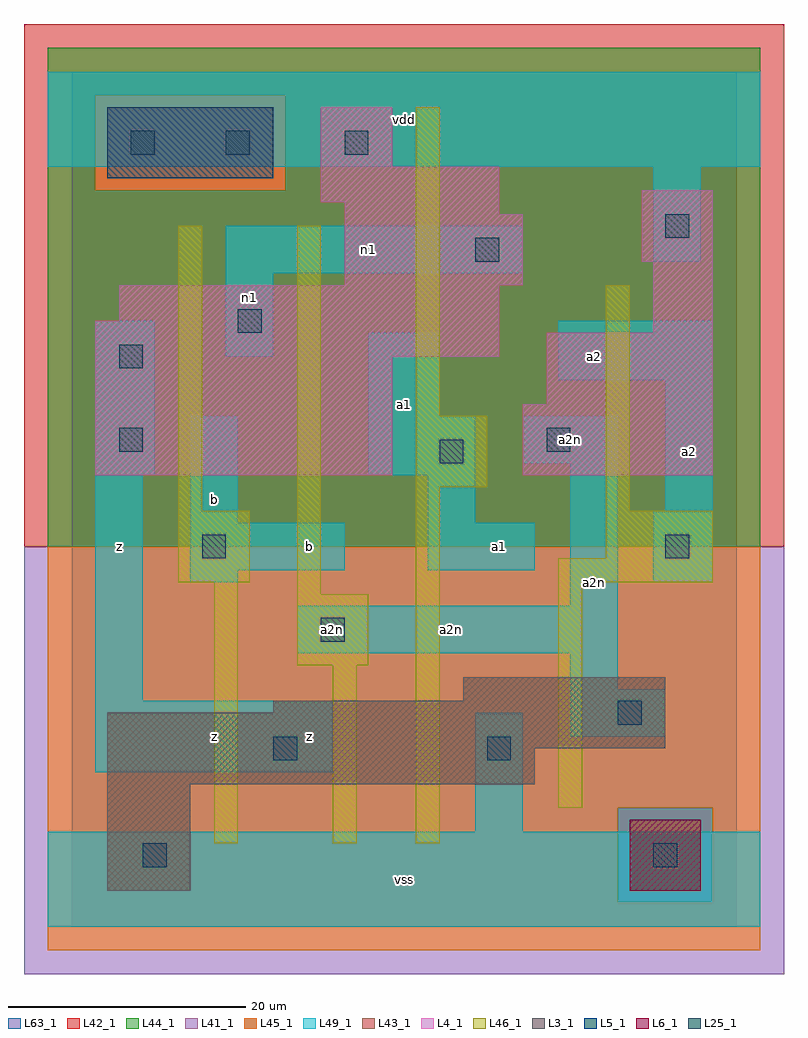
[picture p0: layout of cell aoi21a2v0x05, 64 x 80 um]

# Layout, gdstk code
import gdstk
lib = gdstk.Library(unit=1e-6, precision=1e-09)
def R(c, l, rs):  # rectangles x0, y0, x1, y1
    for r in rs: c.add(gdstk.rectangle(r[:2], r[2:], *l))
L3_1 = (3, 1)
L4_1 = (4, 1)
L5_1 = (5, 1)
L6_1 = (6, 1)
L25_1 = (25, 1)
L41_1 = (41, 1)
L42_1 = (42, 1)
L43_1 = (43, 1)
L44_1 = (44, 1)
L45_1 = (45, 1)
L46_1 = (46, 1)
L49_1 = (49, 1)
L63_1 = (63, 1)

aoi21a2v0x05 = lib.new_cell('aoi21a2v0x05')
R(aoi21a2v0x05, L3_1, [(3,3,10,12), (3,12,39,15), (3,15,50,18), (17,18,50,19), (33,19,50,21)])
R(aoi21a2v0x05, L4_1, [(2,38,27,48), (38,38,54,44), (40,44,54,50), (2,48,36,51), (49,50,54,56), (4,51,36,54), (23,54,38,60), (48,56,54,62), (23,60,36,61), (21,61,36,64), (21,64,27,69)])
R(aoi21a2v0x05, L5_1, [(3,63,17,69)])
R(aoi21a2v0x05, L6_1, [(47,3,53,9), (47,3,53,9)])
R(aoi21a2v0x05, L25_1, [(6,5,8,7), (49,5,51,7), (17,14,19,16), (35,14,37,16), (46,17,48,19), (21,24,23,26), (11,31,13,33), (50,31,52,33), (31,39,33,41), (4,40,6,42), (40,40,42,42), (4,47,6,49), (14,50,16,52), (34,56,36,58), (50,58,52,60), (5,65,7,67), (13,65,15,67), (23,65,25,67)])
R(aoi21a2v0x05, L41_1, [(-4,-4,60,32)])
R(aoi21a2v0x05, L42_1, [(-4,32,60,76)])
R(aoi21a2v0x05, L43_1, [(3,3,10,12), (47,3,53,9), (3,12,39,15), (3,15,50,18), (17,18,50,19), (33,19,50,21), (2,38,27,48), (38,38,54,44), (40,44,54,50), (2,48,36,51), (49,50,54,56), (4,51,36,54), (23,54,38,60), (48,56,54,62), (23,60,36,61), (21,61,36,64), (3,63,17,69), (21,64,27,69)])
R(aoi21a2v0x05, L44_1, [(46,2,54,10), (-2,32,58,62), (-2,62,2,70), (18,62,58,70), (-2,70,58,74)])
R(aoi21a2v0x05, L45_1, [(-2,-2,58,2), (-2,2,46,10), (54,2,58,10), (-2,10,58,32), (2,62,18,70)])
R(aoi21a2v0x05, L46_1, [(12,7,14,29), (22,7,24,22), (29,7,31,37), (41,10,43,29), (19,22,25,28), (19,28,21,59), (9,29,15,35), (41,29,54,31), (45,31,54,35), (9,35,11,59), (45,35,47,54), (29,37,35,43), (29,43,31,69)])
R(aoi21a2v0x05, L49_1, [(-2,0,58,8), (34,8,38,18), (2,13,22,19), (42,16,50,20), (2,19,6,38), (42,20,46,23), (19,23,46,27), (42,27,46,39), (10,29,14,30), (49,29,54,35), (10,30,23,34), (30,30,39,34), (10,34,14,43), (30,34,34,38), (50,35,54,46), (2,38,7,51), (25,38,34,43), (38,39,46,43), (25,43,31,50), (41,46,54,51), (13,48,17,55), (13,55,38,59), (49,56,53,64), (-2,64,58,72)])
R(aoi21a2v0x05, L63_1, [(0,0,56,72)])
aoi21a2v0x05.add(gdstk.Label('a2n', (22,25), layer=49, texttype=1))
aoi21a2v0x05.add(gdstk.Label('z', (4,32), layer=49, texttype=1))
aoi21a2v0x05.add(gdstk.Label('z', (20,16), layer=49, texttype=1))
aoi21a2v0x05.add(gdstk.Label('z', (12,16), layer=49, texttype=1))
aoi21a2v0x05.add(gdstk.Label('b', (20,32), layer=49, texttype=1))
aoi21a2v0x05.add(gdstk.Label('b', (12,36), layer=49, texttype=1))
aoi21a2v0x05.add(gdstk.Label('n1', (15,53), layer=49, texttype=1))
aoi21a2v0x05.add(gdstk.Label('vss', (28,4), layer=49, texttype=1))
aoi21a2v0x05.add(gdstk.Label('a1', (36,32), layer=49, texttype=1))
aoi21a2v0x05.add(gdstk.Label('a1', (28,44), layer=49, texttype=1))
aoi21a2v0x05.add(gdstk.Label('n1', (25,57), layer=49, texttype=1))
aoi21a2v0x05.add(gdstk.Label('vdd', (28,68), layer=49, texttype=1))
aoi21a2v0x05.add(gdstk.Label('a2n', (32,25), layer=49, texttype=1))
aoi21a2v0x05.add(gdstk.Label('a2', (52,40), layer=49, texttype=1))
aoi21a2v0x05.add(gdstk.Label('a2n', (44,29), layer=49, texttype=1))
aoi21a2v0x05.add(gdstk.Label('a2', (44,48), layer=49, texttype=1))
aoi21a2v0x05.add(gdstk.Label('a2n', (42,41), layer=49, texttype=1))

lib.write_gds('aoi21a2v0x05.gds')
